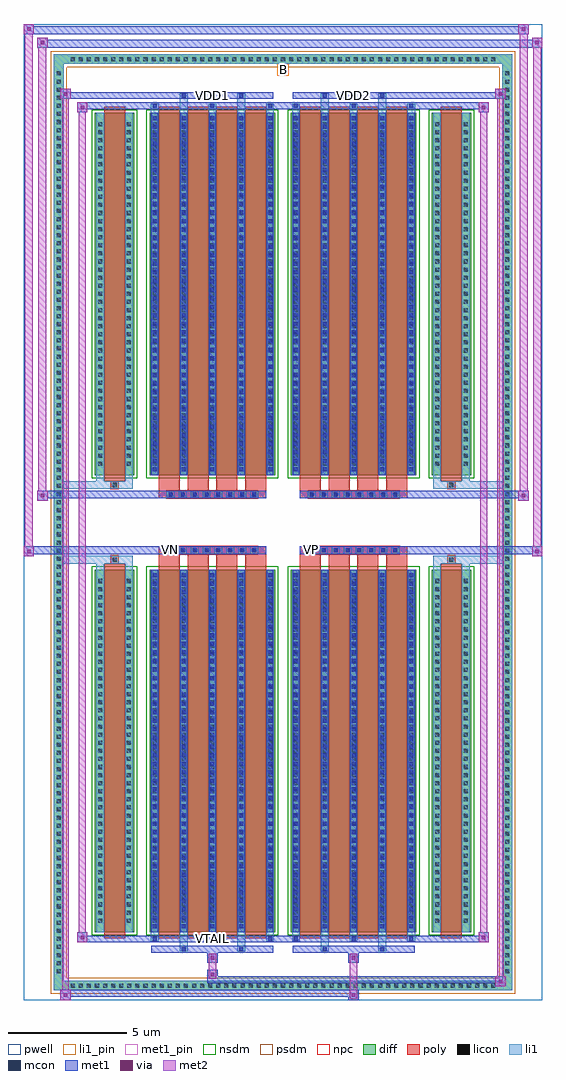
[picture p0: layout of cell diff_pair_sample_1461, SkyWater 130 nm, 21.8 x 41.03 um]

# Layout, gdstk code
import gdstk
lib = gdstk.Library(unit=1e-6, precision=5e-09)
def R(c, l, rs):  # rectangles x0, y0, x1, y1
    for r in rs: c.add(gdstk.rectangle(r[:2], r[2:], *l))
def A(c, l, x, y, w, h, nx, ny, dx, dy):  # array of equal rectangles
    R(c, l, [(x+i*dx, y+j*dy, x+i*dx+w, y+j*dy+h) for i in range(nx) for j in range(ny)])
def P(c, l, *ps):  # polygons
    for p in ps: c.add(gdstk.Polygon(p, *l))
pwell = (64, 44)
diff = (65, 20)
poly = (66, 20)
licon = (66, 44)
li1_pin = (67, 16)
li1 = (67, 20)
mcon = (67, 44)
met1_pin = (68, 16)
met1 = (68, 20)
via = (68, 44)
met2 = (69, 20)
nsdm = (93, 44)
psdm = (94, 20)
npc = (95, 20)

diff_pair_sample_1461 = lib.new_cell('diff_pair_sample_1461')
R(diff_pair_sample_1461, pwell, [(-10.9,-20.08,10.9,20.95), (-8.22,-18.27,-0.01,-0.805), (0.01,-18.27,8.22,-0.805), (-8.22,0.805,-0.01,18.27), (0.01,0.805,8.22,18.27)])
A(diff_pair_sample_1461, diff, -9.045, -19.68, 0.41, 0.41, 53, 2, 0.34, 38.95)
A(diff_pair_sample_1461, diff, -9.63, -19.075, 0.41, 0.41, 1, 112, 0, 0.34)
A(diff_pair_sample_1461, diff, 9.22, -19.075, 0.41, 0.41, 1, 112, 0, 0.34)
R(diff_pair_sample_1461, diff, [(-9.045,-19.68,9.045,-19.27), (-9.63,-19.075,-9.22,19.075), (9.22,-19.075,9.63,19.075), (-7.91,-17.225,-6.25,-1.985), (-5.61,-17.225,-0.32,-1.985), (0.32,-17.225,5.61,-1.985), (6.25,-17.225,7.91,-1.985), (-7.91,1.985,-6.25,17.225), (-5.61,1.985,-0.32,17.225), (0.32,1.985,5.61,17.225), (6.25,1.985,7.91,17.225), (-9.045,19.27,9.045,19.68)])
P(diff_pair_sample_1461, diff, [(9.63,19.68),(-9.63,19.68),(-9.63,-19.27),(-9.22,-19.27),(-9.22,19.27),(9.22,19.27),(9.22,-19.27),(-9.22,-19.27),(-9.63,-19.27),(-9.63,-19.68),(9.63,-19.68)])
A(diff_pair_sample_1461, poly, -5.22, -17.475, 0.88, 15.74, 4, 2, 1.21, 19.21)
A(diff_pair_sample_1461, poly, 0.71, -17.475, 0.88, 15.74, 4, 2, 1.21, 19.21)
A(diff_pair_sample_1461, poly, -5.22, -1.735, 0.88, 0.4, 4, 2, 1.21, 3.07)
A(diff_pair_sample_1461, poly, 0.71, -1.735, 0.88, 0.4, 4, 2, 1.21, 3.07)
A(diff_pair_sample_1461, poly, -4.88, -1.335, 0.33, 0.33, 8, 2, 0.5, 2.34)
A(diff_pair_sample_1461, poly, 1.05, -1.335, 0.33, 0.33, 8, 2, 0.5, 2.34)
R(diff_pair_sample_1461, poly, [(-7.52,-17.475,-6.64,-1.735), (6.64,-17.475,7.52,-1.735), (-7.245,-1.735,-6.915,-1.405), (-7.245,-1.735,-6.915,-1.405), (6.915,-1.735,7.245,-1.405), (6.915,-1.735,7.245,-1.405), (-5.22,-1.335,-0.71,-1.005), (0.71,-1.335,5.22,-1.005), (-5.22,1.005,-0.71,1.335), (0.71,1.005,5.22,1.335), (-7.245,1.405,-6.915,1.735), (-7.245,1.405,-6.915,1.735), (6.915,1.405,7.245,1.735), (6.915,1.405,7.245,1.735), (-7.52,1.735,-6.64,17.475), (6.64,1.735,7.52,17.475)])
A(diff_pair_sample_1461, licon, -8.925, -19.56, 0.17, 0.17, 53, 2, 0.34, 38.95)
A(diff_pair_sample_1461, licon, -9.51, -18.955, 0.17, 0.17, 1, 112, 0, 0.34)
A(diff_pair_sample_1461, licon, 9.34, -18.955, 0.17, 0.17, 1, 112, 0, 0.34)
A(diff_pair_sample_1461, licon, -7.77, -16.83, 0.17, 0.17, 1, 43, 0, 0.34)
A(diff_pair_sample_1461, licon, -6.56, -16.83, 0.17, 0.17, 1, 43, 0, 0.34)
A(diff_pair_sample_1461, licon, -5.47, -16.83, 0.17, 0.17, 5, 43, 1.21, 0.34)
A(diff_pair_sample_1461, licon, 0.46, -16.83, 0.17, 0.17, 5, 43, 1.21, 0.34)
A(diff_pair_sample_1461, licon, 6.39, -16.83, 0.17, 0.17, 1, 43, 0, 0.34)
A(diff_pair_sample_1461, licon, 7.6, -16.83, 0.17, 0.17, 1, 43, 0, 0.34)
A(diff_pair_sample_1461, licon, -4.8, -1.255, 0.17, 0.17, 8, 2, 0.5, 2.34)
A(diff_pair_sample_1461, licon, 1.13, -1.255, 0.17, 0.17, 8, 2, 0.5, 2.34)
A(diff_pair_sample_1461, licon, -7.77, 2.38, 0.17, 0.17, 1, 43, 0, 0.34)
A(diff_pair_sample_1461, licon, -6.56, 2.38, 0.17, 0.17, 1, 43, 0, 0.34)
A(diff_pair_sample_1461, licon, -5.47, 2.38, 0.17, 0.17, 5, 43, 1.21, 0.34)
A(diff_pair_sample_1461, licon, 0.46, 2.38, 0.17, 0.17, 5, 43, 1.21, 0.34)
A(diff_pair_sample_1461, licon, 6.39, 2.38, 0.17, 0.17, 1, 43, 0, 0.34)
A(diff_pair_sample_1461, licon, 7.6, 2.38, 0.17, 0.17, 1, 43, 0, 0.34)
R(diff_pair_sample_1461, licon, [(-7.165,-1.655,-6.995,-1.485), (6.995,-1.655,7.165,-1.485), (-7.165,1.485,-6.995,1.655), (6.995,1.485,7.165,1.655)])
R(diff_pair_sample_1461, li1_pin, [(-0.25,18.77,0.25,19.27)])
A(diff_pair_sample_1461, li1, -9.005, -19.64, 0.33, 0.33, 53, 2, 0.34, 38.95)
A(diff_pair_sample_1461, li1, -9.59, -19.035, 0.33, 0.33, 1, 112, 0, 0.34)
A(diff_pair_sample_1461, li1, 9.26, -19.035, 0.33, 0.33, 1, 112, 0, 0.34)
A(diff_pair_sample_1461, li1, -5.55, -17.6, 0.33, 0.375, 3, 2, 2.42, 34.825)
A(diff_pair_sample_1461, li1, -5.47, -17.6, 0.17, 0.17, 3, 2, 2.42, 35.03)
A(diff_pair_sample_1461, li1, 0.38, -17.6, 0.33, 0.375, 3, 2, 2.42, 34.825)
A(diff_pair_sample_1461, li1, 0.46, -17.6, 0.17, 0.17, 3, 2, 2.42, 35.03)
A(diff_pair_sample_1461, li1, -5.55, -17.225, 0.33, 15.24, 5, 2, 1.21, 19.21)
A(diff_pair_sample_1461, li1, 0.38, -17.225, 0.33, 15.24, 5, 2, 1.21, 19.21)
A(diff_pair_sample_1461, li1, -5.47, -17.07, 0.17, 0.17, 5, 42, 1.21, 0.36)
A(diff_pair_sample_1461, li1, -5.47, -17.07, 0.17, 14.93, 5, 2, 1.21, 19.21)
A(diff_pair_sample_1461, li1, 0.46, -17.07, 0.17, 0.17, 5, 42, 1.21, 0.36)
A(diff_pair_sample_1461, li1, 0.46, -17.07, 0.17, 14.93, 5, 2, 1.21, 19.21)
A(diff_pair_sample_1461, li1, -7.85, -16.91, 0.33, 0.33, 1, 43, 0, 0.34)
A(diff_pair_sample_1461, li1, -6.64, -16.91, 0.33, 0.33, 1, 43, 0, 0.34)
A(diff_pair_sample_1461, li1, -5.55, -16.91, 0.33, 0.33, 5, 43, 1.21, 0.34)
A(diff_pair_sample_1461, li1, 0.38, -16.91, 0.33, 0.33, 5, 43, 1.21, 0.34)
A(diff_pair_sample_1461, li1, 6.31, -16.91, 0.33, 0.33, 1, 43, 0, 0.34)
A(diff_pair_sample_1461, li1, 7.52, -16.91, 0.33, 0.33, 1, 43, 0, 0.34)
A(diff_pair_sample_1461, li1, -4.88, -1.335, 0.33, 0.33, 8, 2, 0.5, 2.34)
A(diff_pair_sample_1461, li1, 1.05, -1.335, 0.33, 0.33, 8, 2, 0.5, 2.34)
A(diff_pair_sample_1461, li1, -5.47, 2.14, 0.17, 0.17, 5, 42, 1.21, 0.36)
A(diff_pair_sample_1461, li1, 0.46, 2.14, 0.17, 0.17, 5, 42, 1.21, 0.36)
A(diff_pair_sample_1461, li1, -7.85, 2.3, 0.33, 0.33, 1, 43, 0, 0.34)
A(diff_pair_sample_1461, li1, -6.64, 2.3, 0.33, 0.33, 1, 43, 0, 0.34)
A(diff_pair_sample_1461, li1, -5.55, 2.3, 0.33, 0.33, 5, 43, 1.21, 0.34)
A(diff_pair_sample_1461, li1, 0.38, 2.3, 0.33, 0.33, 5, 43, 1.21, 0.34)
A(diff_pair_sample_1461, li1, 6.31, 2.3, 0.33, 0.33, 1, 43, 0, 0.34)
A(diff_pair_sample_1461, li1, 7.52, 2.3, 0.33, 0.33, 1, 43, 0, 0.34)
R(diff_pair_sample_1461, li1, [(-9.63,-19.68,-9.22,-19.27), (-9.63,-19.68,-9.22,-19.27), (-9.22,-19.68,9.22,-19.27), (9.22,-19.68,9.63,-19.27), (9.22,-19.68,9.63,-19.27), (-9.63,-19.27,-9.22,19.27), (9.22,-19.27,9.63,19.27), (-4.34,-18.03,-4.01,-17.225), (-4.26,-18.03,-4.09,-17.86), (-1.92,-18.03,-1.59,-17.225), (-1.84,-18.03,-1.67,-17.86), (1.59,-18.03,1.92,-17.225), (1.67,-18.03,1.84,-17.86), (4.01,-18.03,4.34,-17.225), (4.09,-18.03,4.26,-17.86), (-7.85,-17.225,-7.52,-1.985), (-6.64,-17.225,-6.31,-1.985), (6.31,-17.225,6.64,-1.985), (7.52,-17.225,7.85,-1.985), (-7.85,-1.985,-7.52,-1.405), (-6.64,-1.985,-6.31,-1.405), (6.31,-1.985,6.64,-1.405), (7.52,-1.985,7.85,-1.405), (-9.63,-1.735,-7.245,-1.405), (-7.85,-1.735,-7.245,-1.405), (-7.245,-1.735,-6.915,-1.405), (-6.915,-1.735,-6.31,-1.405), (6.31,-1.735,6.915,-1.405), (6.915,-1.735,7.245,-1.405), (6.915,-1.735,9.63,-1.405), (7.245,-1.735,7.85,-1.405), (-9.63,1.405,-7.245,1.735), (-7.85,1.405,-7.245,1.735), (-7.85,1.405,-7.52,1.985), (-7.245,1.405,-6.915,1.735), (-6.915,1.405,-6.31,1.735), (-6.64,1.405,-6.31,1.985), (6.31,1.405,6.915,1.735), (6.31,1.405,6.64,1.985), (6.915,1.405,7.245,1.735), (6.915,1.405,9.63,1.735), (7.245,1.405,7.85,1.735), (7.52,1.405,7.85,1.985), (-7.85,1.985,-7.52,17.225), (-6.64,1.985,-6.31,17.225), (6.31,1.985,6.64,17.225), (7.52,1.985,7.85,17.225), (-4.34,17.225,-4.01,18.03), (-1.92,17.225,-1.59,18.03), (1.59,17.225,1.92,18.03), (4.01,17.225,4.34,18.03), (-4.26,17.86,-4.09,18.03), (-1.84,17.86,-1.67,18.03), (1.67,17.86,1.84,18.03), (4.09,17.86,4.26,18.03), (-9.63,19.27,-9.22,19.68), (-9.63,19.27,-9.22,19.68), (-9.22,19.27,9.22,19.68), (9.22,19.27,9.63,19.68), (9.22,19.27,9.63,19.68)])
A(diff_pair_sample_1461, mcon, -5.47, -17.6, 0.17, 0.17, 3, 2, 2.42, 35.03)
A(diff_pair_sample_1461, mcon, 0.46, -17.6, 0.17, 0.17, 3, 2, 2.42, 35.03)
A(diff_pair_sample_1461, mcon, -5.47, -17.07, 0.17, 0.17, 5, 42, 1.21, 0.36)
A(diff_pair_sample_1461, mcon, 0.46, -17.07, 0.17, 0.17, 5, 42, 1.21, 0.36)
A(diff_pair_sample_1461, mcon, -4.8, -1.255, 0.17, 0.17, 8, 2, 0.5, 2.34)
A(diff_pair_sample_1461, mcon, 1.13, -1.255, 0.17, 0.17, 8, 2, 0.5, 2.34)
A(diff_pair_sample_1461, mcon, -5.47, 2.14, 0.17, 0.17, 5, 42, 1.21, 0.36)
A(diff_pair_sample_1461, mcon, 0.46, 2.14, 0.17, 0.17, 5, 42, 1.21, 0.36)
R(diff_pair_sample_1461, mcon, [(-4.26,-18.03,-4.09,-17.86), (-1.84,-18.03,-1.67,-17.86), (1.67,-18.03,1.84,-17.86), (4.09,-18.03,4.26,-17.86), (-4.26,17.86,-4.09,18.03), (-1.84,17.86,-1.67,18.03), (1.67,17.86,1.84,18.03), (4.09,17.86,4.26,18.03)])
R(diff_pair_sample_1461, met1_pin, [(-3.1,-17.64,-2.83,-17.37), (-4.85,-1.295,-4.58,-1.025), (1.08,-1.295,1.35,-1.025), (-3.1,17.82,-2.83,18.09), (2.83,17.82,3.1,18.09)])
A(diff_pair_sample_1461, met1, -5.53, -17.66, 0.29, 0.29, 3, 2, 2.42, 35.03)
A(diff_pair_sample_1461, met1, 0.4, -17.66, 0.29, 0.29, 3, 2, 2.42, 35.03)
A(diff_pair_sample_1461, met1, -5.53, -17.225, 0.29, 15.24, 5, 2, 1.21, 19.21)
A(diff_pair_sample_1461, met1, 0.4, -17.225, 0.29, 15.24, 5, 2, 1.21, 19.21)
A(diff_pair_sample_1461, met1, -5.53, -17.13, 0.29, 0.29, 5, 42, 1.21, 0.36)
A(diff_pair_sample_1461, met1, 0.4, -17.13, 0.29, 0.29, 5, 42, 1.21, 0.36)
A(diff_pair_sample_1461, met1, -4.86, -1.315, 0.29, 0.29, 8, 2, 0.5, 2.34)
A(diff_pair_sample_1461, met1, 1.07, -1.315, 0.29, 0.29, 8, 2, 0.5, 2.34)
A(diff_pair_sample_1461, met1, -5.53, 2.08, 0.29, 0.29, 5, 42, 1.21, 0.36)
A(diff_pair_sample_1461, met1, 0.4, 2.08, 0.29, 0.29, 5, 42, 1.21, 0.36)
R(diff_pair_sample_1461, met1, [(-9.36,-20.08,-8.93,-19.65), (2.75,-20.08,3.18,-19.65), (-9.36,-19.94,3.18,-19.65), (8.93,-19.51,9.36,-19.08), (-3.18,-19.37,9.36,-19.08), (-3.18,-19.23,-2.75,-18.8), (-3.18,-18.52,-2.75,-18.09), (2.75,-18.52,3.18,-18.09), (-5.53,-18.09,-0.4,-17.8), (-4.32,-18.09,-4.03,-17.8), (-1.9,-18.09,-1.61,-17.8), (0.4,-18.09,5.53,-17.8), (1.61,-18.09,1.9,-17.8), (4.03,-18.09,4.32,-17.8), (-8.65,-17.66,-8.22,-17.23), (-8.65,-17.66,-5.53,-17.37), (-5.53,-17.66,-0.4,-17.37), (-0.4,-17.66,0.4,-17.37), (0.4,-17.66,5.53,-17.37), (5.53,-17.66,8.65,-17.37), (8.22,-17.66,8.65,-17.23), (-10.9,-1.435,-10.47,-1.005), (10.47,-1.435,10.9,-1.005), (-10.9,-1.335,-0.71,-1.005), (-5.22,-1.335,-0.71,-1.005), (0.71,-1.335,5.22,-1.005), (0.71,-1.335,10.9,-1.005), (-10.33,0.905,-9.9,1.335), (9.9,0.905,10.33,1.335), (-10.33,1.005,-5.22,1.335), (-5.22,1.005,-0.71,1.335), (0.71,1.005,5.22,1.335), (5.22,1.005,10.33,1.335), (-8.65,17.23,-8.22,17.66), (8.22,17.23,8.65,17.66), (-8.65,17.37,-5.53,17.66), (-5.53,17.37,-0.4,17.66), (-0.4,17.37,0.4,17.66), (0.4,17.37,5.53,17.66), (5.53,17.37,8.65,17.66), (-9.36,17.8,-8.93,18.23), (-9.36,17.8,-5.53,18.09), (-5.53,17.8,-0.4,18.09), (-4.32,17.8,-4.03,18.09), (-1.9,17.8,-1.61,18.09), (0.4,17.8,5.53,18.09), (1.61,17.8,1.9,18.09), (4.03,17.8,4.32,18.09), (5.53,17.8,9.36,18.09), (8.93,17.8,9.36,18.23), (-10.33,19.95,-9.9,20.38), (-10.33,19.95,-8.22,20.28), (-8.22,19.95,8.22,20.28), (8.22,19.95,10.9,20.28), (10.47,19.95,10.9,20.38), (-10.9,20.52,-10.47,20.95), (-10.9,20.52,-8.22,20.85), (-8.22,20.52,8.22,20.85), (8.22,20.52,10.33,20.85), (9.9,20.52,10.33,20.95)])
R(diff_pair_sample_1461, via, [(-9.22,-19.94,-9.07,-19.79), (2.89,-19.94,3.04,-19.79), (9.07,-19.37,9.22,-19.22), (-3.04,-19.09,-2.89,-18.94), (-3.04,-18.38,-2.89,-18.23), (2.89,-18.38,3.04,-18.23), (-8.51,-17.52,-8.36,-17.37), (8.36,-17.52,8.51,-17.37), (-10.76,-1.295,-10.61,-1.145), (10.61,-1.295,10.76,-1.145), (-10.19,1.045,-10.04,1.195), (10.04,1.045,10.19,1.195), (-8.51,17.37,-8.36,17.52), (8.36,17.37,8.51,17.52), (-9.22,17.94,-9.07,18.09), (9.07,17.94,9.22,18.09), (-10.19,20.09,-10.04,20.24), (10.61,20.09,10.76,20.24), (-10.76,20.66,-10.61,20.81), (10.04,20.66,10.19,20.81)])
R(diff_pair_sample_1461, met2, [(-9.36,-20.08,-8.93,-19.65), (-9.29,-20.08,-9,18.23), (-9,-20.08,-8.93,-19.65), (-9.31,-20.03,-8.98,-19.7), (2.8,-20.03,3.13,-19.7), (2.8,-19.7,3.13,-18.47), (8.93,-19.51,9.36,-19.08), (9,-19.51,9.29,18.23), (9.29,-19.51,9.36,-19.08), (8.98,-19.46,9.31,-19.13), (-3.13,-19.18,-2.8,-18.85), (-3.13,-18.85,-2.8,-18.47), (-3.13,-18.47,-2.8,-18.14), (2.8,-18.47,3.13,-18.14), (-8.65,-17.66,-8.22,-17.23), (-8.58,-17.66,-8.29,17.66), (-8.29,-17.66,-8.22,-17.23), (8.22,-17.66,8.65,-17.23), (8.29,-17.66,8.58,17.66), (8.58,-17.66,8.65,-17.23), (-8.6,-17.61,-8.27,-17.28), (8.27,-17.61,8.6,-17.28), (-10.9,-1.435,-10.47,-1.005), (-10.85,-1.435,-10.52,20.95), (-10.52,-1.435,-10.47,-1.005), (10.47,-1.435,10.9,-1.005), (10.52,-1.435,10.85,20.38), (10.85,-1.435,10.9,-1.005), (-10.85,-1.385,-10.52,-1.055), (10.52,-1.385,10.85,-1.055), (-10.33,0.905,-9.9,1.335), (-10.28,0.905,-9.95,20.38), (-9.95,0.905,-9.9,1.335), (9.9,0.905,10.33,1.335), (9.95,0.905,10.28,20.95), (10.28,0.905,10.33,1.335), (-10.28,0.955,-9.95,1.285), (9.95,0.955,10.28,1.285), (-8.65,17.23,-8.22,17.66), (-8.29,17.23,-8.22,17.66), (8.22,17.23,8.65,17.66), (8.58,17.23,8.65,17.66), (-8.6,17.28,-8.27,17.61), (8.27,17.28,8.6,17.61), (-9.36,17.8,-8.93,18.23), (-9,17.8,-8.93,18.23), (8.93,17.8,9.36,18.23), (9.29,17.8,9.36,18.23), (-9.31,17.85,-8.98,18.18), (8.98,17.85,9.31,18.18), (-10.33,19.95,-9.9,20.38), (-9.95,19.95,-9.9,20.38), (10.47,19.95,10.9,20.38), (10.85,19.95,10.9,20.38), (-10.28,20,-9.95,20.33), (10.52,20,10.85,20.33), (-10.9,20.52,-10.47,20.95), (-10.52,20.52,-10.47,20.95), (9.9,20.52,10.33,20.95), (10.28,20.52,10.33,20.95), (-10.85,20.57,-10.52,20.9), (9.95,20.57,10.28,20.9)])
R(diff_pair_sample_1461, nsdm, [(-8.04,-17.355,-6.12,-1.855), (-5.74,-17.355,-0.19,-1.855), (0.19,-17.355,5.74,-1.855), (6.12,-17.355,8.04,-1.855), (-8.04,1.855,-6.12,17.355), (-5.74,1.855,-0.19,17.355), (0.19,1.855,5.74,17.355), (6.12,1.855,8.04,17.355)])
P(diff_pair_sample_1461, psdm, [(9.76,19.81),(-9.76,19.81),(-9.76,-19.14),(-9.09,-19.14),(-9.09,19.14),(9.09,19.14),(9.09,-19.14),(-9.09,-19.14),(-9.76,-19.14),(-9.76,-19.81),(9.76,-19.81)])
A(diff_pair_sample_1461, npc, -4.9, -1.355, 0.37, 0.37, 8, 2, 0.5, 2.34)
A(diff_pair_sample_1461, npc, 1.03, -1.355, 0.37, 0.37, 8, 2, 0.5, 2.34)
R(diff_pair_sample_1461, npc, [(-7.265,-1.755,-6.895,-1.385), (6.895,-1.755,7.265,-1.385), (-4.9,-1.355,-4.03,-0.985), (-4.9,-1.355,-4.03,-0.985), (-4.4,-1.355,-3.53,-0.985), (-4.4,-1.355,-3.53,-0.985), (-3.9,-1.355,-3.03,-0.985), (-3.9,-1.355,-3.03,-0.985), (-3.4,-1.355,-2.53,-0.985), (-3.4,-1.355,-2.53,-0.985), (-2.9,-1.355,-2.03,-0.985), (-2.9,-1.355,-2.03,-0.985), (-2.4,-1.355,-1.53,-0.985), (-2.4,-1.355,-1.53,-0.985), (-1.9,-1.355,-1.03,-0.985), (-1.9,-1.355,-1.03,-0.985), (1.03,-1.355,1.9,-0.985), (1.03,-1.355,1.9,-0.985), (1.53,-1.355,2.4,-0.985), (1.53,-1.355,2.4,-0.985), (2.03,-1.355,2.9,-0.985), (2.03,-1.355,2.9,-0.985), (2.53,-1.355,3.4,-0.985), (2.53,-1.355,3.4,-0.985), (3.03,-1.355,3.9,-0.985), (3.03,-1.355,3.9,-0.985), (3.53,-1.355,4.4,-0.985), (3.53,-1.355,4.4,-0.985), (4.03,-1.355,4.9,-0.985), (4.03,-1.355,4.9,-0.985), (-4.9,0.985,-4.03,1.355), (-4.9,0.985,-4.03,1.355), (-4.4,0.985,-3.53,1.355), (-4.4,0.985,-3.53,1.355), (-3.9,0.985,-3.03,1.355), (-3.9,0.985,-3.03,1.355), (-3.4,0.985,-2.53,1.355), (-3.4,0.985,-2.53,1.355), (-2.9,0.985,-2.03,1.355), (-2.9,0.985,-2.03,1.355), (-2.4,0.985,-1.53,1.355), (-2.4,0.985,-1.53,1.355), (-1.9,0.985,-1.03,1.355), (-1.9,0.985,-1.03,1.355), (1.03,0.985,1.9,1.355), (1.03,0.985,1.9,1.355), (1.53,0.985,2.4,1.355), (1.53,0.985,2.4,1.355), (2.03,0.985,2.9,1.355), (2.03,0.985,2.9,1.355), (2.53,0.985,3.4,1.355), (2.53,0.985,3.4,1.355), (3.03,0.985,3.9,1.355), (3.03,0.985,3.9,1.355), (3.53,0.985,4.4,1.355), (3.53,0.985,4.4,1.355), (4.03,0.985,4.9,1.355), (4.03,0.985,4.9,1.355), (-7.265,1.385,-6.895,1.755), (6.895,1.385,7.265,1.755)])
diff_pair_sample_1461.add(gdstk.Label('VTAIL', (-2.965,-17.505), layer=68, texttype=5))
diff_pair_sample_1461.add(gdstk.Label('VN', (-4.715,-1.16), layer=68, texttype=5))
diff_pair_sample_1461.add(gdstk.Label('VP', (1.215,-1.16), layer=68, texttype=5))
diff_pair_sample_1461.add(gdstk.Label('B', (0,19.02), layer=67, texttype=5))
diff_pair_sample_1461.add(gdstk.Label('VDD2', (2.965,17.955), layer=68, texttype=5))
diff_pair_sample_1461.add(gdstk.Label('VDD1', (-2.965,17.955), layer=68, texttype=5))

lib.write_gds('diff_pair_sample_1461.gds')
